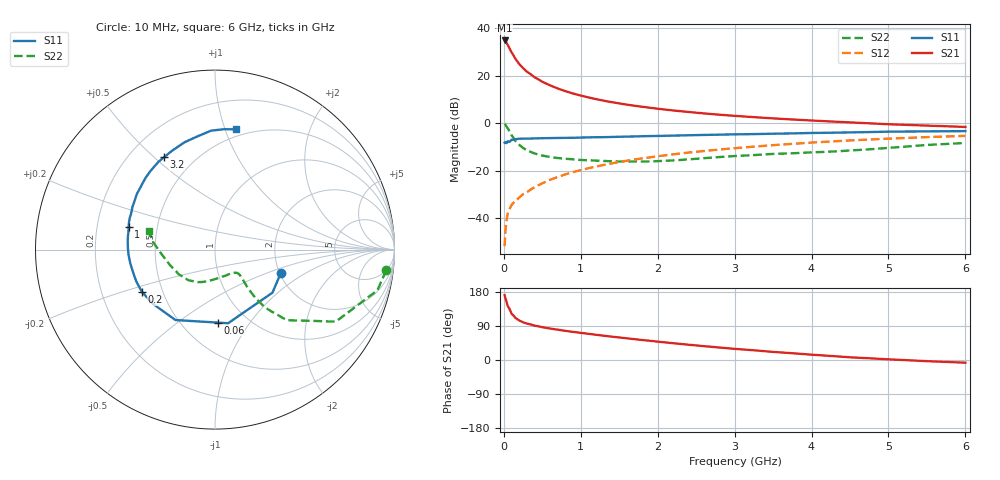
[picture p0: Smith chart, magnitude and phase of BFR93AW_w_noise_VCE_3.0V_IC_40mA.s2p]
! Infineon Technologies  Discrete & RF Semiconductors
! BFR93AW
! VCE =  3.0 V,  IC =  40 mA
! Common Emitter S-Parameters:  Jan 2017
# GHz  S  MA  R  50
!  f  S11  S21  S12  S22
! GHz  MAG  ANG  MAG  ANG  MAG  ANG  MAG  ANG
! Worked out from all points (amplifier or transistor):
!   77 points, 10 MHz to 6 GHz, reference 50 ohm
!   highest |S21| = 34.8 dB at 10 MHz (marker M1)
!   |S21| within 3 dB of that: start of sweep to 68.86 MHz
!   unconditionally stable (mu >= 1): 466.1 MHz to 2.099 GHz
!   at 130 MHz: K = 0.62, MSG = 30.8 dB, |S12| = -33.3 dB
!   at 2.2 GHz: K = 0.99, MSG = 9.2 dB, |S12| = -13.1 dB
!   at 6 GHz: K = 0.90, MSG = 1.9 dB, |S12| = -5.3 dB
!   lowest NFmin = 2.04 dB at 450 MHz
!   S11 on the Smith chart (normalised r, x): 10 MHz: 2.04, -0.62; 60 MHz: 0.73, -0.72; 200 MHz: 0.38, -0.23; 1 GHz: 0.34, +0.11; 3.2 GHz: 0.34, +0.54; 6 GHz: 0.44, +1.09
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0.01  0.3894 -19.2  54.65 171.2  0.0026 83.5  0.9609 -6.9
0.02  0.4001 -36.9  53.8 163.1  0.0054 81.7  0.9327 -14.1
0.05  0.4167 -79.9  44.31 142.4  0.0126 68.1  0.7835 -30.8
0.06  0.4069 -88.0  41.27 139.4  0.0139 66.1  0.7361 -32.9
0.1  0.45 -119.3  30.79 122.0  0.019 60.7  0.5605 -44.6
0.15  0.4595 -138.9  22.54 111.2  0.0233 61.1  0.4261 -49.2
0.2  0.4703 -150.0  17.55 104.4  0.0273 62.3  0.3495 -50.1
0.25  0.473 -157.8  14.35 99.5  0.0321 64.3  0.3013 -49.7
0.3  0.4733 -163.4  12.07 96.1  0.0354 65.8  0.2683 -49.0
0.4  0.4783 -171.0  9.209 90.7  0.0452 68.8  0.2301 -47.2
0.5  0.4829 -176.8  7.416 86.6  0.0544 69.6  0.2086 -46.1
0.6  0.4854 178.8  6.228 83.1  0.0644 70.7  0.1943 -45.7
0.7  0.4882 175.1  5.356 80.0  0.0738 71.7  0.185 -45.8
1  0.4977 165.3  3.8 71.6  0.1032 71.5  0.1684 -49.9
1.1  0.5026 162.5  3.47 69.1  0.1131 70.9  0.1663 -51.6
1.5  0.5177 152.7  2.595 59.5  0.1524 68.4  0.1566 -63.0
2.1  0.5424 139.6  1.927 46.4  0.2112 63.5  0.1616 -86.5
3.1  0.5844 120.8  1.388 27.9  0.3068 53.7  0.2072 -120.2
3.2  0.5874 119.0  1.354 26.4  0.3162 52.6  0.2112 -123.0
4.1  0.6244 104.3  1.115 12.7  0.3986 42.9  0.2464 -148.8
5.1  0.6643 90.7  0.936 0.8  0.4796 31.7  0.3107 -178.7
6  0.68 80.3  0.833 -7.2  0.5404 21.6  0.3836 164.5
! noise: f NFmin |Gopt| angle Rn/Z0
0.45  2.04  0.23  -180  0.16
0.9  2.33  0.29  -170  0.17
1.9  3.4  0.52  -133  0.35
2.4  4.1  0.57  -123  0.66
